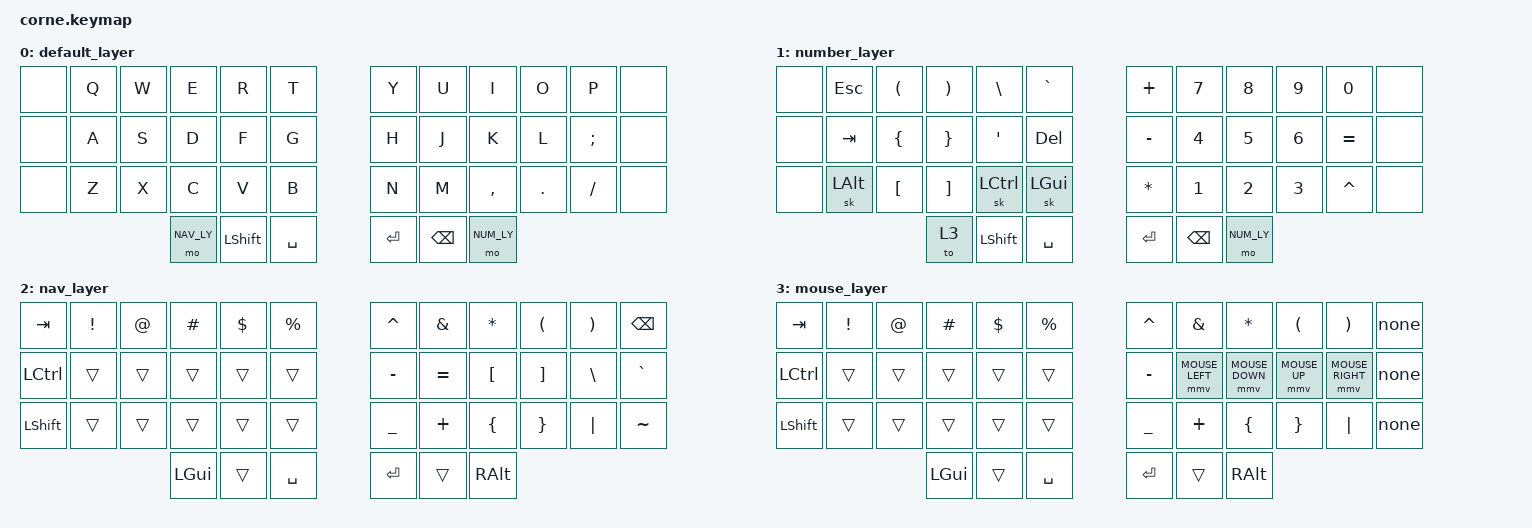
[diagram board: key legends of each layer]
/*
 * Copyright (c) 2020 The ZMK Contributors
 *
 * SPDX-License-Identifier: MIT
 */

#include <behaviors.dtsi>
#include <dt-bindings/zmk/keys.h>
#include <dt-bindings/zmk/bt.h>

#define DEF_LY 0
#define NUM_LY 1
#define NAV_LY 2
#define MSE_LY 3
#define BLT_LY 4

/ {
        keymap {
                compatible = "zmk,keymap";

                default_layer {
// -----------------------------------------------------------------------------------------
// | none |  Q  |  W  |  E  |  R  |  T  |   |  Y  |  U  |  I  |  O  |  P  | none |
// | none |  A  |  S  |  D  |  F  |  G  |   |  H  |  J  |  K  |  L  | ; : | none |
// | none |  Z  |  X  |  C  |  V  |  B  |   |  N  |  M  | , < | . > | / ? | none |
//                    |NAVLY|LSHFT| SPC |   | ENT | BKSP|NUMLY|
                        bindings = <
    &none &kp Q &kp W &kp E &kp R &kp T      &kp Y &kp U  &kp I     &kp O   &kp P    &none
    &none &kp A &kp S &kp D &kp F &kp G      &kp H &kp J  &kp K     &kp L   &kp SEMI &none
    &none &kp Z &kp X &kp C &kp V &kp B      &kp N &kp M  &kp COMMA &kp DOT &kp FSLH &none
         &mo NAV_LY &kp LSHFT &kp SPACE      &kp RET &kp BKSP &mo NUM_LY 
                        >;
                };
                number_layer {
// -----------------------------------------------------------------------------------------
// | none | ESC |  (  |  )  | \ | | ` ~ |                      |  +  |  7  |  8  |  9  |  0  | none |
// | none | TAB |  {  |  }  | ' " |  _  |                      |  -  |  4  |  5  |  6  |  =  | none |
// | none | ALT |  [  |  ]  |LCTRL| LGUI|                      |  *  |  1  |  2  |  3  |  ^  | none |
//                    |MSELY|LSHFT| SPC |                      | ENT | BKSP|NUMLY|
                        bindings = <
    &none  &kp ESC  &kp LPAR  &kp RPAR &kp BSLH  &kp GRAVE     &kp PLUS  &kp N7     &kp N8   &kp N9    &kp N0    &none
    &none  &kp TAB  &kp LBRC  &kp RBRC &kp APOS  &kp DEL       &kp MINUS &kp N4     &kp N5   &kp N6    &kp EQUAL &none
    &none  &sk LALT &kp LBKT  &kp RBKT &sk LCTRL &sk LGUI      &kp STAR  &kp N1     &kp N2   &kp N3    &kp CARET &none
                              &to 3 &kp LSHFT    &kp SPACE     &kp RET   &kp BKSP   &mo NUM_LY
                        >;
                };

                nav_layer {
// -----------------------------------------------------------------------------------------
// | none | ESC |  @  |  #  |  $  |  %  |        | DEL | HOME| PGDN| PGUP| END | none |
// | none | TAB |     |     |     |     |        | INS | LEFT| DOWN|  UP |RIGHT| none |
// | none | ALT |     |     |     |     |        |     |     |     |NUMLK|CAPLK| none |
//                    |NAVLY|LSHFT| SPC |        | ENT | BKSP|BLTLY|
                        bindings = <
   &kp  TAB  &kp EXCL &kp AT &kp HASH &kp DLLR &kp PRCNT   &kp CARET &kp AMPS  &kp ASTRK &kp LPAR &kp RPAR &kp BSPC
   &kp LCTRL &trans   &trans &trans   &trans   &trans      &kp MINUS &kp EQUAL &kp LBKT  &kp RBKT &kp BSLH &kp GRAVE
   &kp LSHFT &trans   &trans &trans   &trans   &trans      &kp UNDER &kp PLUS  &kp LBRC  &kp RBRC &kp PIPE &kp TILDE
                             &kp LGUI &trans   &kp SPACE   &kp RET   &trans    &kp RALT
                        >;
                };
                
                mouse_layer {
// -----------------------------------------------------------------------------------------
// | none | ESC |  @  |  #  |  $  |  %  |        | DEL | HOME| PGDN| PGUP| END | none |
// | none | TAB |     |     |     |     |        | INS |MSELT|MSEDN|MSEUP|MSERT| none |
// | none | ALT |     |     |     |     |        |     |     |     |NUMLK|CAPLK| none |
//                    |NAVLY|LSHFT| SPC |        | ENT | BKSP|BLTLY|
                        bindings = <
   &kp  TAB  &kp EXCL &kp AT &kp HASH &kp DLLR &kp PRCNT   &kp CARET &kp AMPS  &kp ASTRK &kp LPAR &kp RPAR &kp none 
   &kp LCTRL &trans   &trans &trans   &trans   &trans      &kp MINUS &mmv MOUSE_LEFT &mmv MOUSE_DOWN  &mmv MOUSE_UP &mmv MOUSE_RIGHT &kp none 
   &kp LSHFT &trans   &trans &trans   &trans   &trans      &kp UNDER &kp PLUS  &kp LBRC  &kp RBRC &kp PIPE &kp none 
                             &kp LGUI &trans   &kp SPACE   &kp RET   &trans    &kp RALT
                        >;
                };

        };
};
